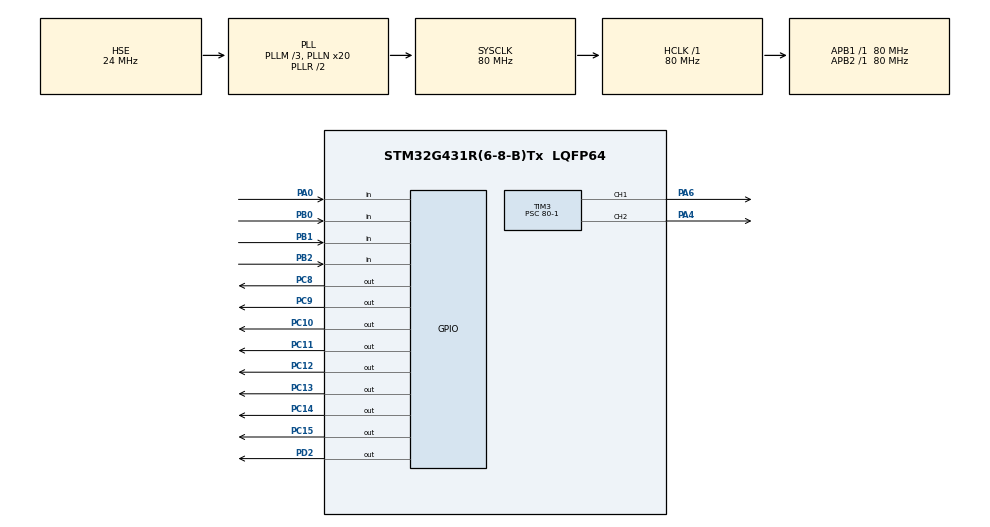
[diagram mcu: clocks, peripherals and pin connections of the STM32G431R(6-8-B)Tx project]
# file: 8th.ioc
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Mcu.Family=STM32G4
Mcu.Name=STM32G431R(6-8-B)Tx
Mcu.Package=LQFP64
NVIC.PriorityGroup=NVIC_PRIORITYGROUP_4
NVIC.TIM7_IRQn=true\:0\:0\:false\:false\:true\:true\:true\:true
PA0.Signal=GPIO_Input
PA13.Mode=Serial_Wire
PA13.Signal=SYS_JTMS-SWDIO
PA14.Mode=Serial_Wire
PA14.Signal=SYS_JTCK-SWCLK
PA4.Signal=S_TIM3_CH2
PA6.Signal=S_TIM3_CH1
PB0.GPIO_PuPd=GPIO_NOPULL
PB0.Signal=GPIO_Input
PB1.GPIO_PuPd=GPIO_NOPULL
PB1.Signal=GPIO_Input
PB2.GPIO_PuPd=GPIO_NOPULL
PB2.Signal=GPIO_Input
PC10.Signal=GPIO_Output
PC11.Signal=GPIO_Output
PC12.Signal=GPIO_Output
PC13.Signal=GPIO_Output
PC14-OSC32_IN.Signal=GPIO_Output
PC15-OSC32_OUT.Signal=GPIO_Output
PC8.GPIO_PuPd=GPIO_NOPULL
PC8.Signal=GPIO_Output
PC9.Signal=GPIO_Output
PD2.Signal=GPIO_Output
PF0-OSC_IN.Mode=HSE-External-Oscillator
PF0-OSC_IN.Signal=RCC_OSC_IN
PF1-OSC_OUT.Mode=HSE-External-Oscillator
PF1-OSC_OUT.Signal=RCC_OSC_OUT
ProjectManager.HeapSize=0x200
ProjectManager.StackSize=0x400
ProjectManager.TargetToolchain=MDK-ARM V5
RCC.ADC12Freq_Value=80000000
RCC.AHBFreq_Value=80000000
RCC.APB1Freq_Value=80000000
RCC.APB1TimFreq_Value=80000000
RCC.APB2Freq_Value=80000000
RCC.APB2TimFreq_Value=80000000
RCC.CortexFreq_Value=80000000
RCC.EXTERNAL_CLOCK_VALUE=12288000
RCC.HCLKFreq_Value=80000000
RCC.HSE_VALUE=24000000
RCC.HSI48_VALUE=48000000
RCC.HSI_VALUE=16000000
RCC.LSE_VALUE=32768
RCC.PLLM=RCC_PLLM_DIV3
RCC.PLLN=20
RCC.PLLSourceVirtual=RCC_PLLSOURCE_HSE
RCC.RTCClockSelection=RCC_RTCCLKSOURCE_HSE_DIV32
RCC.SYSCLKFreq_VALUE=80000000
RCC.SYSCLKSource=RCC_SYSCLKSOURCE_PLLCLK
RCC.USBFreq_Value=80000000
RCC.VCOOutputFreq_Value=160000000
SH.S_TIM3_CH1.0=TIM3_CH1,PWM Generation1 CH1
SH.S_TIM3_CH2.0=TIM3_CH2,PWM Generation2 CH2
TIM3.Channel-PWM\ Generation1\ CH1=TIM_CHANNEL_1
TIM3.Channel-PWM\ Generation2\ CH2=TIM_CHANNEL_2
TIM3.PeriodNoDither=100-1
TIM3.Prescaler=80-1
TIM7.PeriodNoDither=9
TIM7.Prescaler=7199
VP_RTC_VS_RTC_Activate.Mode=RTC_Enabled
VP_SYS_VS_DBSignals.Mode=DisableDeadBatterySignals
VP_TIM7_VS_ClockSourceINT.Mode=Enable_Timer
board=custom

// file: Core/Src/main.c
/* USER CODE BEGIN Header */
/**
  ******************************************************************************
  * @file           : main.c
  * @brief          : Main program body
  ******************************************************************************
  * @attention
  *
  * Copyright (c) 2026 STMicroelectronics.
  * All rights reserved.
  *
  * This software is licensed under terms that can be found in the LICENSE file
  * in the root directory of this software component.
  * If no LICENSE file comes with this software, it is provided AS-IS.
  *
  ******************************************************************************
  */
/* USER CODE END Header */
#include "main.h"
#include "rtc.h"
#include "tim.h"
#include "gpio.h"

/* USER CODE BEGIN Includes */
#include "lcd.h"
#include "string.h"
#include "stdio.h"
/* USER CODE END Includes */

/* USER CODE BEGIN PTD */
#define led_left 0x10
#define led_right 0x00
/* USER CODE END PTD */

/* USER CODE BEGIN PD */
#define UNLOCK HAL_GPIO_WritePin(GPIOD,GPIO_PIN_2,GPIO_PIN_SET);
#define LOCK HAL_GPIO_WritePin(GPIOD,GPIO_PIN_2,GPIO_PIN_RESET);
#define UP HAL_GPIO_WritePin(GPIOA,GPIO_PIN_4,GPIO_PIN_SET);
#define DOWN HAL_GPIO_WritePin(GPIOA,GPIO_PIN_4,GPIO_PIN_RESET);
#define OPEN HAL_GPIO_WritePin(GPIOA,GPIO_PIN_5,GPIO_PIN_SET);
#define CLOSE HAL_GPIO_WritePin(GPIOA,GPIO_PIN_5,GPIO_PIN_RESET);
/* USER CODE END PD */

/* USER CODE BEGIN PV */
u32 uwTick_led=0;
u8 ucLed=0x08;
u8 lcd_state=1;
u32 uwTick_key=0;
u32 uwTick_lcd=0;
char *title="current state";
char message[1000];
u8 total_led=0;
u8 lcd_led=0;
u8 set_mode=1;
u8 key_value=0;
u32 count=0;
u8 floor1=0;
u8 floor2=0;
u8 floor3=0;
u8 floor4=0;
u32 uwTick_floor=0;
u8 floor_state=1;

/* USER CODE END PV */

void SystemClock_Config(void);

/* USER CODE BEGIN 0 */
void led_disp(u8 led){
  HAL_GPIO_WritePin(GPIOC,GPIO_PIN_8|GPIO_PIN_9|GPIO_PIN_10|GPIO_PIN_11|GPIO_PIN_12|GPIO_PIN_13|GPIO_PIN_14|GPIO_PIN_15,GPIO_PIN_SET);
  UNLOCK;
  LOCK;
  HAL_GPIO_WritePin(GPIOC,led<<8,GPIO_PIN_RESET);
  UNLOCK;
  LOCK;
}
u8 flowkleft(u8 led){
  if(uwTick-uwTick_led<200)return led;
  uwTick_led=uwTick;
  led=led<<1;
  if(led==led_right)led=led_left;
  return led;
}
u8 flowkright(u8 led){
  if(uwTick-uwTick_led<200)return led;
  uwTick_led=uwTick;
  led=led>>1;
  if(led==led_left){led=led_right;}
  return led;
}
void HAL_TIM_PeriodElapsedCallback(TIM_HandleTypeDef *htim){
  if(htim==&htim7){
    if(key_value==0){
      count++;
    }else{
      count=0;
    }
    if(count>=1000&&set_mode==1){
      set_mode^=1;
      CLOSE
      count=0;

    }
  }
}
void key_pro(){
  if(uwTick-uwTick_key<10)return;
  uwTick_key=uwTick;
  key_value=key_scanf();
  if(key_value==1){
    lcd_state=1;
    floor1=1;
    lcd_led=0x01;
    LCD_Clear(White);
  }
  if(key_value==2){
    lcd_state=2;
    lcd_led=0x02;
    floor2=1;
    LCD_Clear(White);
  }
  if(key_value==3){
    lcd_state=3;
    lcd_led=0x04;
    floor3=1;
    LCD_Clear(White);
  }
  if(key_value==4){
    lcd_state=4;
    lcd_led=0x08;
    floor4=1;
    LCD_Clear(White);
  }

}
void lcd_pro(){
  if(uwTick-uwTick_lcd<100)return;
  uwTick_lcd=uwTick;
  LCD_middle_show_string(Line1,title);
  sprintf((char *)message,"%d",lcd_state);
  LCD_middle_show_string(Line3,message);
}
int UP_DOWN_delay(){
  if(uwTick-uwTick_floor<6000)return 1;
  uwTick_floor=uwTick;
  return 0;
}
int OPEN_CLOSE_delay(){
  if(uwTick-uwTick_floor<4000)return 1;
  uwTick_floor=uwTick;
  return 0;
}
int FLOOR_delay(){
  if(uwTick-uwTick_floor<2000)return 1;
  uwTick_floor=uwTick;
  return 0;
}
void floor_pro(){

  switch (floor_state)
  {
    case 1:
      if(floor2==1){
        UP
        if(UP_DOWN_delay())return;
        lcd_state=2;
        lcd_led=0x02;
        OPEN
        if(OPEN_CLOSE_delay())return;
        floor2=0;
      }
      if(floor3==1){
        if(FLOOR_delay())return;
        CLOSE
        if(OPEN_CLOSE_delay())return;
        UP
        if(UP_DOWN_delay())return;
        lcd_state=3;
        lcd_led=0x04;
        if(OPEN_CLOSE_delay())return;
        OPEN
        floor3=0;
      }
      if(floor4==1){
        if(FLOOR_delay())return;
        if(OPEN_CLOSE_delay())return;
        CLOSE
        UP
        if(UP_DOWN_delay())return;
        lcd_state=4;
        lcd_led=0x08;
        OPEN
        if(OPEN_CLOSE_delay())return;
        floor4=0;
      }
    case 2:
      if(floor3==1){
        if(FLOOR_delay())return;
        CLOSE
        if(OPEN_CLOSE_delay())return;
        UP
        if(UP_DOWN_delay())return;
        lcd_state=3;
        lcd_led=0x04;
        OPEN
        if(OPEN_CLOSE_delay())return;
        floor3=0;
      }
      if(floor4==1){
        if(FLOOR_delay())return;
        CLOSE
        if(OPEN_CLOSE_delay())return;
        UP
        if(UP_DOWN_delay())return;
        lcd_state=4;
        lcd_led=0x08;
        OPEN
        if(OPEN_CLOSE_delay())return;
        floor4=0;
      }
      if(floor1==1){
        if(FLOOR_delay())return;
        CLOSE
        if(OPEN_CLOSE_delay())return;
        DOWN
        if(UP_DOWN_delay())return;
        lcd_state=1;
        lcd_led=0x01;
        OPEN
        if(OPEN_CLOSE_delay())return;
        floor1=0;
      }
    case 3:
      if(floor3==1){
        if(FLOOR_delay())return;
        CLOSE
        if(OPEN_CLOSE_delay())return;
        UP
        if(UP_DOWN_delay())return;
        lcd_state=3;
        lcd_led=0x04;
        OPEN
        floor3=0;
      }
      if(floor2==1){
        if(FLOOR_delay())return;
        CLOSE
        if(OPEN_CLOSE_delay())return;
        DOWN
        if(UP_DOWN_delay())return;
        lcd_state=2;
        lcd_led=0x02;
        OPEN
        if(OPEN_CLOSE_delay())return;
        floor2=0;
      }
      if(floor1==1){
        if(FLOOR_delay())return;
        CLOSE
        if(OPEN_CLOSE_delay())return;
        DOWN
        if(UP_DOWN_delay())return;
        lcd_state=1;
        lcd_led=0x01;
        OPEN
        if(OPEN_CLOSE_delay())return;
        floor1=0;
      }
    case 4:
      if(floor3==1){
        if(FLOOR_delay())return;
        CLOSE
        if(OPEN_CLOSE_delay())return;
        DOWN
        if(UP_DOWN_delay())return;
        lcd_state=3;
        lcd_led=0x04;
        OPEN
        if(OPEN_CLOSE_delay())return;
        floor3=0;
      }
      if(floor2==1){
        if(FLOOR_delay())return;
        CLOSE
        if(OPEN_CLOSE_delay())return;
        DOWN
        if(UP_DOWN_delay())return;
        lcd_state=2;
        lcd_led=0x02;
        OPEN
        if(OPEN_CLOSE_delay())return;
        floor2=0;
      }
      if(floor1==1){
        if(FLOOR_delay())return;
        CLOSE
        if(OPEN_CLOSE_delay())return;
        DOWN
        if(UP_DOWN_delay())return;
        lcd_state=1;
        lcd_led=0x01;
        OPEN
        if(OPEN_CLOSE_delay())return;
        floor1=0;
      }
  }
}
/* USER CODE END 0 */

int main(void)
{

  /* MCU Configuration--------------------------------------------------------*/

  /* Reset of all peripherals, Initializes the Flash interface and the Systick. */
  HAL_Init();

  /* Configure the system clock */
  SystemClock_Config();

  /* Initialize all configured peripherals */
  MX_GPIO_Init();
  MX_RTC_Init();
  MX_TIM3_Init();
  MX_TIM7_Init();
  /* USER CODE BEGIN 2 */
  LCD_Init();
  LCD_Clear(White);
  LCD_SetTextColor(Black);
  LCD_SetBackColor(White);
  HAL_TIM_Base_Start_IT(&htim7);
  led_disp(0);
  /* USER CODE END 2 */

  /* Infinite loop */
  /* USER CODE BEGIN WHILE */
  while (1)
  {
    if(set_mode){
      key_pro();
    }else{

    }
    lcd_pro();
    total_led=lcd_led|ucLed;
    led_disp(total_led);
    /* USER CODE END WHILE */

  }
}

void SystemClock_Config(void)
{
  RCC_OscInitTypeDef RCC_OscInitStruct = {0};
  RCC_ClkInitTypeDef RCC_ClkInitStruct = {0};

  /** Configure the main internal regulator output voltage
  */
  HAL_PWREx_ControlVoltageScaling(PWR_REGULATOR_VOLTAGE_SCALE1);

  /** Initializes the RCC Oscillators according to the specified parameters
  * in the RCC_OscInitTypeDef structure.
  */
  RCC_OscInitStruct.OscillatorType = RCC_OSCILLATORTYPE_HSE;
  RCC_OscInitStruct.HSEState = RCC_HSE_ON;
  RCC_OscInitStruct.PLL.PLLState = RCC_PLL_ON;
  RCC_OscInitStruct.PLL.PLLSource = RCC_PLLSOURCE_HSE;
  RCC_OscInitStruct.PLL.PLLM = RCC_PLLM_DIV3;
  RCC_OscInitStruct.PLL.PLLN = 20;
  RCC_OscInitStruct.PLL.PLLP = RCC_PLLP_DIV2;
  RCC_OscInitStruct.PLL.PLLQ = RCC_PLLQ_DIV2;
  RCC_OscInitStruct.PLL.PLLR = RCC_PLLR_DIV2;
  if (HAL_RCC_OscConfig(&RCC_OscInitStruct) != HAL_OK)
  {
    Error_Handler();
  }

  /** Initializes the CPU, AHB and APB buses clocks
  */
  RCC_ClkInitStruct.ClockType = RCC_CLOCKTYPE_HCLK|RCC_CLOCKTYPE_SYSCLK
                              |RCC_CLOCKTYPE_PCLK1|RCC_CLOCKTYPE_PCLK2;
  RCC_ClkInitStruct.SYSCLKSource = RCC_SYSCLKSOURCE_PLLCLK;
  RCC_ClkInitStruct.AHBCLKDivider = RCC_SYSCLK_DIV1;
  RCC_ClkInitStruct.APB1CLKDivider = RCC_HCLK_DIV1;
  RCC_ClkInitStruct.APB2CLKDivider = RCC_HCLK_DIV1;

  if (HAL_RCC_ClockConfig(&RCC_ClkInitStruct, FLASH_LATENCY_2) != HAL_OK)
  {
    Error_Handler();
  }
}

void Error_Handler(void)
{
  __disable_irq();
  while (1)
  {
  }
}
